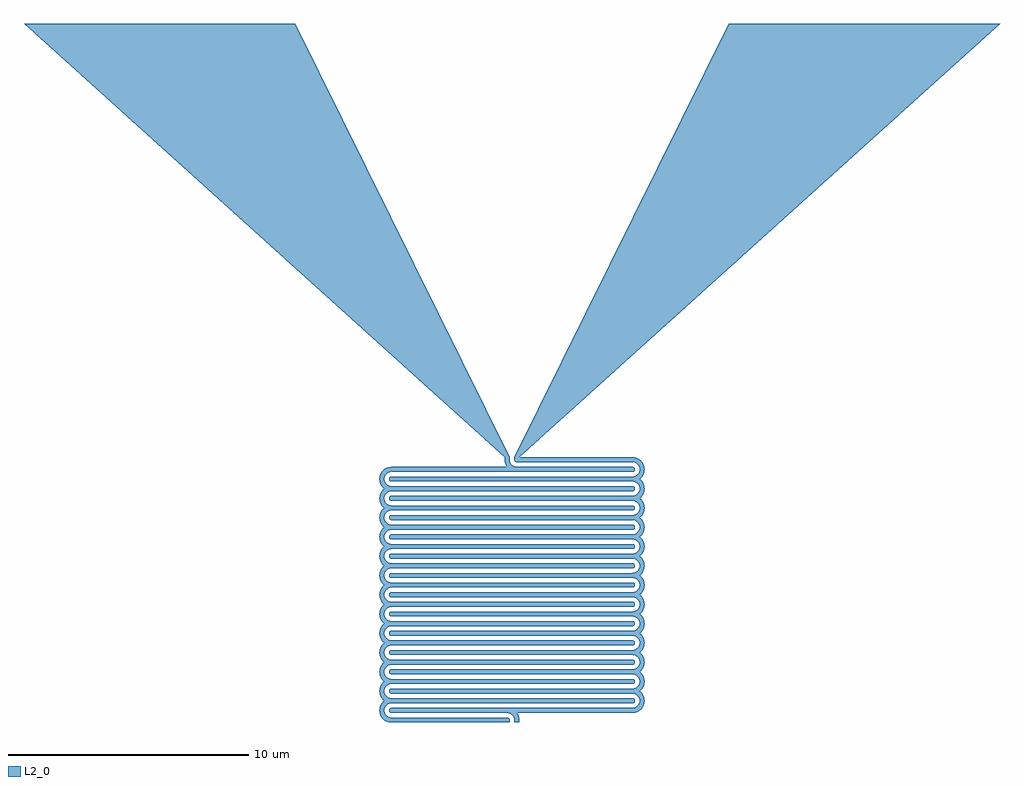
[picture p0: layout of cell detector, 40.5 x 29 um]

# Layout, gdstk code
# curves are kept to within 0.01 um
import gdstk
lib = gdstk.Library(unit=1e-6, precision=1e-09)
def R(c, l, rs):  # rectangles x0, y0, x1, y1
    for r in rs: c.add(gdstk.rectangle(r[:2], r[2:], *l))
def P(c, l, *ps):  # polygons
    for p in ps: c.add(gdstk.Polygon(p, *l))
L2_0 = (2, 0)

meander = lib.new_cell('meander')
R(meander, L2_0, [(-5,-5.5,-0.2,-5.3), (-0.3,-5.5,-0.1,-5.4), (0.1,-5.5,0.3,-5.4), (-5,-5.1,-0.2,-4.9), (-5,-5.1,5,-4.9), (-5,-4.7,5,-4.5), (-5,-4.7,5,-4.5), (-5,-4.3,5,-4.1), (-5,-4.3,5,-4.1), (-5,-3.9,5,-3.7), (-5,-3.9,5,-3.7), (-5,-3.5,5,-3.3), (-5,-3.5,5,-3.3), (-5,-3.1,5,-2.9), (-5,-3.1,5,-2.9), (-5,-2.7,5,-2.5), (-5,-2.7,5,-2.5), (-5,-2.3,5,-2.1), (-5,-2.3,5,-2.1), (-5,-1.9,5,-1.7), (-5,-1.9,5,-1.7), (-5,-1.5,5,-1.3), (-5,-1.5,5,-1.3), (-5,-1.1,5,-0.9), (-5,-1.1,5,-0.9), (-5,-0.7,5,-0.5), (-5,-0.7,5,-0.5), (-5,-0.3,5,-0.1), (-5,-0.3,5,-0.1), (-5,0.1,5,0.3), (-5,0.1,5,0.3), (-5,0.5,5,0.7), (-5,0.5,5,0.7), (-5,0.9,5,1.1), (-5,0.9,5,1.1), (-5,1.3,5,1.5), (-5,1.3,5,1.5), (-5,1.7,5,1.9), (-5,1.7,5,1.9), (-5,2.1,5,2.3), (-5,2.1,5,2.3), (-5,2.5,5,2.7), (-5,2.5,5,2.7), (-5,2.9,5,3.1), (-5,2.9,5,3.1), (-5,3.3,5,3.5), (-5,3.3,5,3.5), (-5,3.7,5,3.9), (-5,3.7,5,3.9), (-5,4.1,5,4.3), (-5,4.1,5,4.3), (-5,4.5,5,4.7), (-5,4.5,5,4.7), (-5,4.9,5,5.1), (0.2,4.9,5,5.1), (0.2,5.3,5,5.5), (-0.3,5.4,-0.1,5.5), (0.1,5.4,0.3,5.5)])
P(meander, L2_0, [(0.2,5.4),(0.2,5.3),(0.167,5.305),(0.139,5.32),(0.108,5.36),(0.1,5.4)],
  [(-0.1,5.4),(-0.084,5.302),(-0.024,5.2),(0.075,5.127),(0.2,5.1),(0.2,4.9),(0.09,4.912),(-0.036,4.959),(-0.145,5.038),(-0.225,5.136),(-0.28,5.259),(-0.3,5.4)],
  [(5,5.5),(5.171,5.47),(5.27,5.421),(5.345,5.362),(5.455,5.208),(5.486,5.118),(5.5,5.008),(5.473,4.836),(5.425,4.736),(5.356,4.649),(5.2,4.542),(5.016,4.5),(5,4.5),(5,4.7),(5.111,4.721),(5.22,4.796),(5.284,4.902),(5.3,5.014),(5.273,5.125),(5.2,5.224),(5.111,5.279),(5,5.3)],
  [(5,5.1),(5.04,5.092),(5.067,5.075),(5.091,5.042),(5.1,5.008),(5.095,4.967),(5.08,4.939),(5.046,4.911),(5.01,4.9),(5,4.9)],
  [(-5,4.6),(-5,4.5),(-5.04,4.508),(-5.08,4.539),(-5.095,4.567),(-5.1,4.608),(-5.087,4.65),(-5.062,4.679),(-5,4.7)],
  [(-5,4.9),(-5.111,4.879),(-5.2,4.824),(-5.273,4.725),(-5.3,4.614),(-5.284,4.502),(-5.22,4.396),(-5.111,4.321),(-5,4.3),(-5,4.1),(-5.016,4.1),(-5.2,4.142),(-5.356,4.249),(-5.425,4.336),(-5.473,4.436),(-5.5,4.608),(-5.473,4.764),(-5.425,4.864),(-5.345,4.962),(-5.257,5.029),(-5.141,5.08),(-5,5.1)],
  [(5,4.7),(5.171,4.67),(5.27,4.621),(5.345,4.562),(5.455,4.408),(5.486,4.318),(5.5,4.208),(5.473,4.036),(5.425,3.936),(5.356,3.849),(5.2,3.742),(5.016,3.7),(5,3.7),(5,3.9),(5.111,3.921),(5.22,3.996),(5.284,4.102),(5.3,4.214),(5.273,4.325),(5.2,4.424),(5.111,4.479),(5,4.5)],
  [(5,4.3),(5.04,4.292),(5.067,4.275),(5.091,4.242),(5.1,4.208),(5.095,4.167),(5.08,4.139),(5.046,4.111),(5.01,4.1),(5,4.1)],
  [(-5,3.8),(-5,3.7),(-5.04,3.708),(-5.08,3.739),(-5.095,3.767),(-5.1,3.808),(-5.087,3.85),(-5.062,3.879),(-5,3.9)],
  [(-5,4.1),(-5.111,4.079),(-5.2,4.024),(-5.273,3.925),(-5.3,3.814),(-5.284,3.702),(-5.22,3.596),(-5.111,3.521),(-5,3.5),(-5,3.3),(-5.016,3.3),(-5.2,3.342),(-5.356,3.449),(-5.425,3.536),(-5.473,3.636),(-5.5,3.808),(-5.473,3.964),(-5.425,4.064),(-5.345,4.162),(-5.257,4.229),(-5.141,4.28),(-5,4.3)],
  [(5,3.9),(5.171,3.87),(5.27,3.821),(5.345,3.762),(5.455,3.608),(5.486,3.518),(5.5,3.408),(5.473,3.236),(5.425,3.136),(5.356,3.049),(5.2,2.942),(5.016,2.9),(5,2.9),(5,3.1),(5.111,3.121),(5.22,3.196),(5.284,3.302),(5.3,3.414),(5.273,3.525),(5.2,3.624),(5.111,3.679),(5,3.7)],
  [(5,3.5),(5.04,3.492),(5.067,3.475),(5.091,3.442),(5.1,3.408),(5.095,3.367),(5.08,3.339),(5.046,3.311),(5.01,3.3),(5,3.3)],
  [(-5,3),(-5,2.9),(-5.04,2.908),(-5.08,2.939),(-5.095,2.967),(-5.1,3.008),(-5.087,3.05),(-5.062,3.079),(-5,3.1)],
  [(-5,3.3),(-5.111,3.279),(-5.2,3.224),(-5.273,3.125),(-5.3,3.014),(-5.284,2.902),(-5.22,2.796),(-5.111,2.721),(-5,2.7),(-5,2.5),(-5.016,2.5),(-5.2,2.542),(-5.356,2.649),(-5.425,2.736),(-5.473,2.836),(-5.5,3.008),(-5.473,3.164),(-5.425,3.264),(-5.345,3.362),(-5.257,3.429),(-5.141,3.48),(-5,3.5)],
  [(5,3.1),(5.171,3.07),(5.27,3.021),(5.345,2.962),(5.455,2.808),(5.486,2.718),(5.5,2.608),(5.473,2.436),(5.425,2.336),(5.356,2.249),(5.2,2.142),(5.016,2.1),(5,2.1),(5,2.3),(5.111,2.321),(5.22,2.396),(5.284,2.502),(5.3,2.614),(5.273,2.725),(5.2,2.824),(5.111,2.879),(5,2.9)],
  [(5,2.7),(5.04,2.692),(5.067,2.675),(5.091,2.642),(5.1,2.608),(5.095,2.567),(5.08,2.539),(5.046,2.511),(5.01,2.5),(5,2.5)],
  [(-5,2.2),(-5,2.1),(-5.04,2.108),(-5.08,2.139),(-5.095,2.167),(-5.1,2.208),(-5.087,2.25),(-5.062,2.279),(-5,2.3)],
  [(-5,2.5),(-5.111,2.479),(-5.2,2.424),(-5.273,2.325),(-5.3,2.214),(-5.284,2.102),(-5.22,1.996),(-5.111,1.921),(-5,1.9),(-5,1.7),(-5.016,1.7),(-5.2,1.742),(-5.356,1.849),(-5.425,1.936),(-5.473,2.036),(-5.5,2.208),(-5.473,2.364),(-5.425,2.464),(-5.345,2.562),(-5.257,2.629),(-5.141,2.68),(-5,2.7)],
  [(5,2.3),(5.171,2.27),(5.27,2.221),(5.345,2.162),(5.455,2.008),(5.486,1.918),(5.5,1.808),(5.473,1.636),(5.425,1.536),(5.356,1.449),(5.2,1.342),(5.016,1.3),(5,1.3),(5,1.5),(5.111,1.521),(5.22,1.596),(5.284,1.702),(5.3,1.814),(5.273,1.925),(5.2,2.024),(5.111,2.079),(5,2.1)],
  [(5,1.9),(5.04,1.892),(5.067,1.875),(5.091,1.842),(5.1,1.808),(5.095,1.767),(5.08,1.739),(5.046,1.711),(5.01,1.7),(5,1.7)],
  [(-5,1.4),(-5,1.3),(-5.04,1.308),(-5.08,1.339),(-5.095,1.367),(-5.1,1.408),(-5.087,1.45),(-5.062,1.479),(-5,1.5)],
  [(-5,1.7),(-5.111,1.679),(-5.2,1.624),(-5.273,1.525),(-5.3,1.414),(-5.284,1.302),(-5.22,1.196),(-5.111,1.121),(-5,1.1),(-5,0.9),(-5.016,0.9),(-5.2,0.942),(-5.356,1.049),(-5.425,1.136),(-5.473,1.236),(-5.5,1.408),(-5.473,1.564),(-5.425,1.664),(-5.345,1.762),(-5.257,1.829),(-5.141,1.88),(-5,1.9)],
  [(5,1.5),(5.171,1.47),(5.27,1.421),(5.345,1.362),(5.455,1.208),(5.486,1.118),(5.5,1.008),(5.473,0.836),(5.425,0.736),(5.356,0.649),(5.2,0.542),(5.016,0.5),(5,0.5),(5,0.7),(5.111,0.721),(5.22,0.796),(5.284,0.902),(5.3,1.014),(5.273,1.125),(5.2,1.224),(5.111,1.279),(5,1.3)],
  [(5,1.1),(5.04,1.092),(5.067,1.075),(5.091,1.042),(5.1,1.008),(5.095,0.967),(5.08,0.939),(5.046,0.911),(5.01,0.9),(5,0.9)],
  [(-5,0.6),(-5,0.5),(-5.04,0.508),(-5.08,0.539),(-5.095,0.567),(-5.1,0.608),(-5.087,0.65),(-5.062,0.679),(-5,0.7)],
  [(-5,0.9),(-5.111,0.879),(-5.2,0.824),(-5.273,0.725),(-5.3,0.614),(-5.284,0.502),(-5.22,0.396),(-5.111,0.321),(-5,0.3),(-5,0.1),(-5.016,0.1),(-5.2,0.142),(-5.356,0.249),(-5.425,0.336),(-5.473,0.436),(-5.5,0.608),(-5.473,0.764),(-5.425,0.864),(-5.345,0.962),(-5.257,1.029),(-5.141,1.08),(-5,1.1)],
  [(5,0.7),(5.171,0.67),(5.27,0.621),(5.345,0.562),(5.455,0.408),(5.486,0.318),(5.5,0.208),(5.473,0.036),(5.425,-0.064),(5.356,-0.151),(5.2,-0.258),(5.016,-0.3),(5,-0.3),(5,-0.1),(5.111,-0.079),(5.22,-0.004),(5.284,0.102),(5.3,0.214),(5.273,0.325),(5.2,0.424),(5.111,0.479),(5,0.5)],
  [(5,0.3),(5.04,0.292),(5.067,0.275),(5.091,0.242),(5.1,0.208),(5.095,0.167),(5.08,0.139),(5.046,0.111),(5.01,0.1),(5,0.1)],
  [(-5,-0.2),(-5,-0.3),(-5.04,-0.292),(-5.08,-0.261),(-5.095,-0.233),(-5.1,-0.192),(-5.087,-0.15),(-5.062,-0.121),(-5,-0.1)],
  [(-5,0.1),(-5.111,0.079),(-5.2,0.024),(-5.273,-0.075),(-5.3,-0.186),(-5.284,-0.298),(-5.22,-0.404),(-5.111,-0.479),(-5,-0.5),(-5,-0.7),(-5.016,-0.7),(-5.2,-0.658),(-5.356,-0.551),(-5.425,-0.464),(-5.473,-0.364),(-5.5,-0.192),(-5.473,-0.036),(-5.425,0.064),(-5.345,0.162),(-5.257,0.229),(-5.141,0.28),(-5,0.3)],
  [(5,-0.1),(5.171,-0.13),(5.27,-0.179),(5.345,-0.238),(5.455,-0.392),(5.486,-0.482),(5.5,-0.592),(5.473,-0.764),(5.425,-0.864),(5.356,-0.951),(5.2,-1.058),(5.016,-1.1),(5,-1.1),(5,-0.9),(5.111,-0.879),(5.22,-0.804),(5.284,-0.698),(5.3,-0.586),(5.273,-0.475),(5.2,-0.376),(5.111,-0.321),(5,-0.3)],
  [(5,-0.5),(5.04,-0.508),(5.067,-0.525),(5.091,-0.558),(5.1,-0.592),(5.095,-0.633),(5.08,-0.661),(5.046,-0.689),(5.01,-0.7),(5,-0.7)],
  [(-5,-1),(-5,-1.1),(-5.04,-1.092),(-5.08,-1.061),(-5.095,-1.033),(-5.1,-0.992),(-5.087,-0.95),(-5.062,-0.921),(-5,-0.9)],
  [(-5,-0.7),(-5.111,-0.721),(-5.2,-0.776),(-5.273,-0.875),(-5.3,-0.986),(-5.284,-1.098),(-5.22,-1.204),(-5.111,-1.279),(-5,-1.3),(-5,-1.5),(-5.016,-1.5),(-5.2,-1.458),(-5.356,-1.351),(-5.425,-1.264),(-5.473,-1.164),(-5.5,-0.992),(-5.473,-0.836),(-5.425,-0.736),(-5.345,-0.638),(-5.257,-0.571),(-5.141,-0.52),(-5,-0.5)],
  [(5,-0.9),(5.171,-0.93),(5.27,-0.979),(5.345,-1.038),(5.455,-1.192),(5.486,-1.282),(5.5,-1.392),(5.473,-1.564),(5.425,-1.664),(5.356,-1.751),(5.2,-1.858),(5.016,-1.9),(5,-1.9),(5,-1.7),(5.111,-1.679),(5.22,-1.604),(5.284,-1.498),(5.3,-1.386),(5.273,-1.275),(5.2,-1.176),(5.111,-1.121),(5,-1.1)],
  [(5,-1.3),(5.04,-1.308),(5.067,-1.325),(5.091,-1.358),(5.1,-1.392),(5.095,-1.433),(5.08,-1.461),(5.046,-1.489),(5.01,-1.5),(5,-1.5)],
  [(-5,-1.8),(-5,-1.9),(-5.04,-1.892),(-5.08,-1.861),(-5.095,-1.833),(-5.1,-1.792),(-5.087,-1.75),(-5.062,-1.721),(-5,-1.7)],
  [(-5,-1.5),(-5.111,-1.521),(-5.2,-1.576),(-5.273,-1.675),(-5.3,-1.786),(-5.284,-1.898),(-5.22,-2.004),(-5.111,-2.079),(-5,-2.1),(-5,-2.3),(-5.016,-2.3),(-5.2,-2.258),(-5.356,-2.151),(-5.425,-2.064),(-5.473,-1.964),(-5.5,-1.792),(-5.473,-1.636),(-5.425,-1.536),(-5.345,-1.438),(-5.257,-1.371),(-5.141,-1.32),(-5,-1.3)],
  [(5,-1.7),(5.171,-1.73),(5.27,-1.779),(5.345,-1.838),(5.455,-1.992),(5.486,-2.082),(5.5,-2.192),(5.473,-2.364),(5.425,-2.464),(5.356,-2.551),(5.2,-2.658),(5.016,-2.7),(5,-2.7),(5,-2.5),(5.111,-2.479),(5.22,-2.404),(5.284,-2.298),(5.3,-2.186),(5.273,-2.075),(5.2,-1.976),(5.111,-1.921),(5,-1.9)],
  [(5,-2.1),(5.04,-2.108),(5.067,-2.125),(5.091,-2.158),(5.1,-2.192),(5.095,-2.233),(5.08,-2.261),(5.046,-2.289),(5.01,-2.3),(5,-2.3)],
  [(-5,-2.6),(-5,-2.7),(-5.04,-2.692),(-5.08,-2.661),(-5.095,-2.633),(-5.1,-2.592),(-5.087,-2.55),(-5.062,-2.521),(-5,-2.5)],
  [(-5,-2.3),(-5.111,-2.321),(-5.2,-2.376),(-5.273,-2.475),(-5.3,-2.586),(-5.284,-2.698),(-5.22,-2.804),(-5.111,-2.879),(-5,-2.9),(-5,-3.1),(-5.016,-3.1),(-5.2,-3.058),(-5.356,-2.951),(-5.425,-2.864),(-5.473,-2.764),(-5.5,-2.592),(-5.473,-2.436),(-5.425,-2.336),(-5.345,-2.238),(-5.257,-2.171),(-5.141,-2.12),(-5,-2.1)],
  [(5,-2.5),(5.171,-2.53),(5.27,-2.579),(5.345,-2.638),(5.455,-2.792),(5.486,-2.882),(5.5,-2.992),(5.473,-3.164),(5.425,-3.264),(5.356,-3.351),(5.2,-3.458),(5.016,-3.5),(5,-3.5),(5,-3.3),(5.111,-3.279),(5.22,-3.204),(5.284,-3.098),(5.3,-2.986),(5.273,-2.875),(5.2,-2.776),(5.111,-2.721),(5,-2.7)],
  [(5,-2.9),(5.04,-2.908),(5.067,-2.925),(5.091,-2.958),(5.1,-2.992),(5.095,-3.033),(5.08,-3.061),(5.046,-3.089),(5.01,-3.1),(5,-3.1)],
  [(-5,-3.4),(-5,-3.5),(-5.04,-3.492),(-5.08,-3.461),(-5.095,-3.433),(-5.1,-3.392),(-5.087,-3.35),(-5.062,-3.321),(-5,-3.3)],
  [(-5,-3.1),(-5.111,-3.121),(-5.2,-3.176),(-5.273,-3.275),(-5.3,-3.386),(-5.284,-3.498),(-5.22,-3.604),(-5.111,-3.679),(-5,-3.7),(-5,-3.9),(-5.016,-3.9),(-5.2,-3.858),(-5.356,-3.751),(-5.425,-3.664),(-5.473,-3.564),(-5.5,-3.392),(-5.473,-3.236),(-5.425,-3.136),(-5.345,-3.038),(-5.257,-2.971),(-5.141,-2.92),(-5,-2.9)],
  [(5,-3.3),(5.171,-3.33),(5.27,-3.379),(5.345,-3.438),(5.455,-3.592),(5.486,-3.682),(5.5,-3.792),(5.473,-3.964),(5.425,-4.064),(5.356,-4.151),(5.2,-4.258),(5.016,-4.3),(5,-4.3),(5,-4.1),(5.111,-4.079),(5.22,-4.004),(5.284,-3.898),(5.3,-3.786),(5.273,-3.675),(5.2,-3.576),(5.111,-3.521),(5,-3.5)],
  [(5,-3.7),(5.04,-3.708),(5.067,-3.725),(5.091,-3.758),(5.1,-3.792),(5.095,-3.833),(5.08,-3.861),(5.046,-3.889),(5.01,-3.9),(5,-3.9)],
  [(-5,-4.2),(-5,-4.3),(-5.04,-4.292),(-5.08,-4.261),(-5.095,-4.233),(-5.1,-4.192),(-5.087,-4.15),(-5.062,-4.121),(-5,-4.1)],
  [(-5,-3.9),(-5.111,-3.921),(-5.2,-3.976),(-5.273,-4.075),(-5.3,-4.186),(-5.284,-4.298),(-5.22,-4.404),(-5.111,-4.479),(-5,-4.5),(-5,-4.7),(-5.016,-4.7),(-5.2,-4.658),(-5.356,-4.551),(-5.425,-4.464),(-5.473,-4.364),(-5.5,-4.192),(-5.473,-4.036),(-5.425,-3.936),(-5.345,-3.838),(-5.257,-3.771),(-5.141,-3.72),(-5,-3.7)],
  [(5,-4.1),(5.171,-4.13),(5.27,-4.179),(5.345,-4.238),(5.455,-4.392),(5.486,-4.482),(5.5,-4.592),(5.473,-4.764),(5.425,-4.864),(5.356,-4.951),(5.2,-5.058),(5.016,-5.1),(5,-5.1),(5,-4.9),(5.111,-4.879),(5.22,-4.804),(5.284,-4.698),(5.3,-4.586),(5.273,-4.475),(5.2,-4.376),(5.111,-4.321),(5,-4.3)],
  [(5,-4.5),(5.04,-4.508),(5.067,-4.525),(5.091,-4.558),(5.1,-4.592),(5.095,-4.633),(5.08,-4.661),(5.046,-4.689),(5.01,-4.7),(5,-4.7)],
  [(-5,-5),(-5,-5.1),(-5.04,-5.092),(-5.08,-5.061),(-5.095,-5.033),(-5.1,-4.992),(-5.087,-4.95),(-5.062,-4.921),(-5,-4.9)],
  [(-5,-4.7),(-5.111,-4.721),(-5.2,-4.776),(-5.273,-4.875),(-5.3,-4.986),(-5.284,-5.098),(-5.22,-5.204),(-5.111,-5.279),(-5,-5.3),(-5,-5.5),(-5.016,-5.5),(-5.2,-5.458),(-5.356,-5.351),(-5.425,-5.264),(-5.473,-5.164),(-5.5,-4.992),(-5.473,-4.836),(-5.425,-4.736),(-5.345,-4.638),(-5.257,-4.571),(-5.141,-4.52),(-5,-4.5)],
  [(-0.2,-4.9),(-0.036,-4.927),(0.064,-4.975),(0.145,-5.038),(0.255,-5.192),(0.288,-5.29),(0.3,-5.4),(0.1,-5.4),(0.084,-5.302),(0.024,-5.2),(-0.075,-5.127),(-0.2,-5.1)],
  [(-0.2,-5.3),(-0.167,-5.305),(-0.133,-5.325),(-0.108,-5.36),(-0.1,-5.4),(-0.2,-5.4)])

adiabatic_opening = lib.new_cell('adiabatic_opening')
P(adiabatic_opening, L2_0, [(0.3,0),(20.25,18),(9,18),(0.1,0)],
  [(-0.3,0),(-20.25,18),(-9,18),(-0.1,0)])

eline = lib.new_cell('eline')
eline.add(gdstk.Reference(meander, (0,0)))
eline.add(gdstk.Reference(adiabatic_opening, (0,5.5)))

adiabatic_opening2 = lib.new_cell('adiabatic_opening2')

line_wsi = lib.new_cell('line_Wsi')

wsi___lw = lib.new_cell('WSi_-_LW')
wsi___lw.add(gdstk.Reference(adiabatic_opening2, (0,0)))
wsi___lw.add(gdstk.Reference(line_wsi, (0,80)))

c_al = lib.new_cell('Al')

detector = lib.new_cell('detector')
detector.add(gdstk.Reference(eline, (0,0)))
detector.add(gdstk.Reference(wsi___lw, (0,13.5)))
detector.add(gdstk.Reference(c_al, (0,0)))

lib.write_gds('detector.gds')
